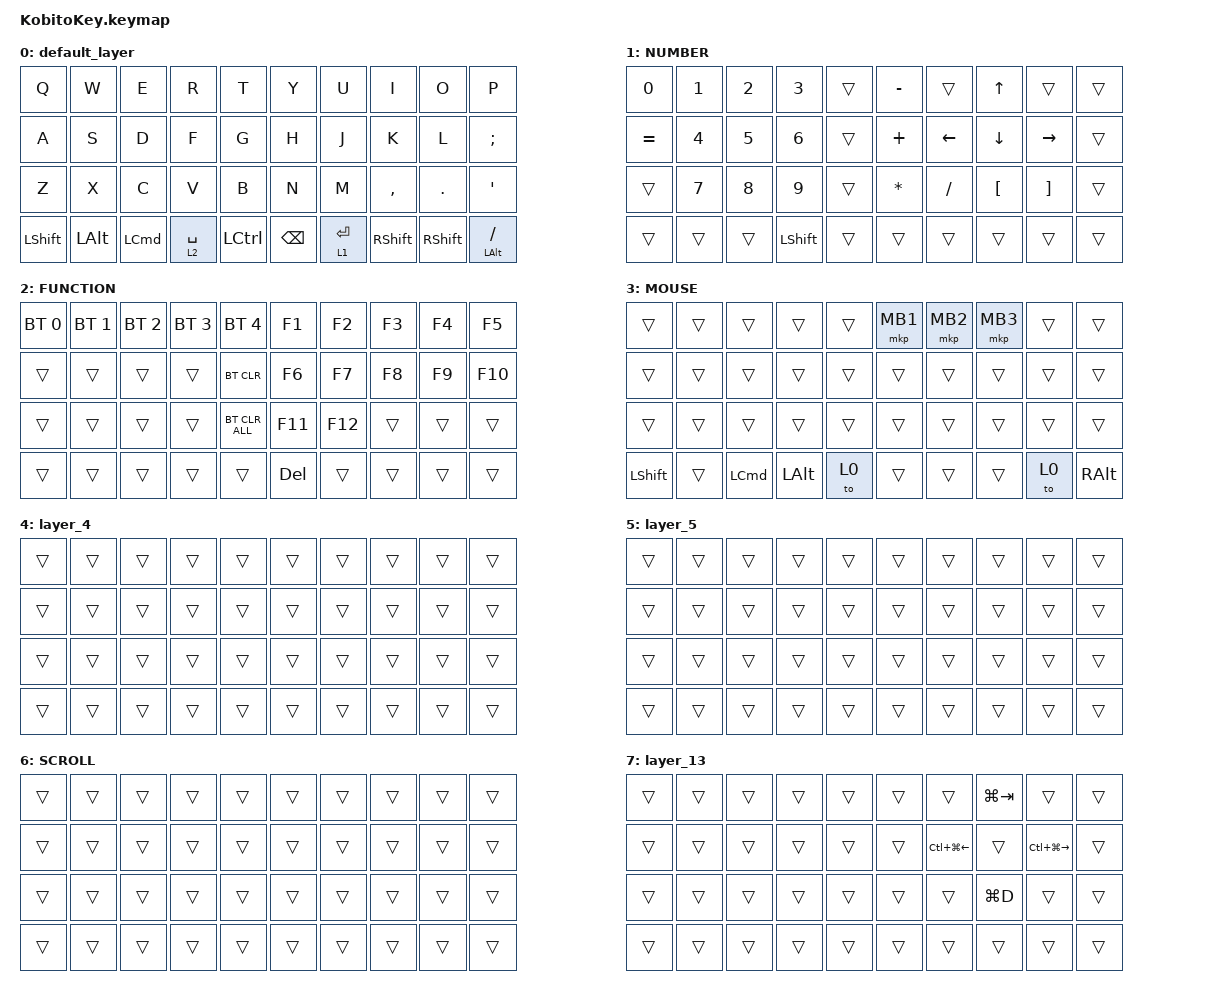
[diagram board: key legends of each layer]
#include <input/processors.dtsi>
#include <behaviors.dtsi>
#include <dt-bindings/zmk/bt.h>
#include <dt-bindings/zmk/keys.h>
#include <dt-bindings/zmk/pointing.h>
#include <zephyr/dt-bindings/input/input-event-codes.h>

/ {
    combos {
        compatible = "zmk,combos";

        combo_eisu {
            timeout-ms = <50>;
            key-positions = <12 13>;
            bindings = <&kp LANG2>;
        };

        combo_kana {
            timeout-ms = <50>;
            key-positions = <16 17>;
            bindings = <&kp LANG1>;
        };

        combo_esc {
            timeout-ms = <50>;
            key-positions = <0 1>;
            bindings = <&kp ESC>;
        };

        combo_tab {
            timeout-ms = <50>;
            key-positions = <10 11>;
            bindings = <&kp TAB>;
        };
        combo_scroll {
            timeout-ms = <50>;
            key-positions = <6 7>; // 6番=U, 7番=I
            bindings = <&mo 6>;    // 押している間だけ「レイヤー6（後述）」をオンにする
        };
        combo_gesture {
            timeout-ms = <50>;
            key-positions = <16 17>; // 6番=U, 7番=I
            bindings = <&mo 13>;    // 押している間だけ「レイヤー13（後述）」をオンにする
        };
    };

    keymap {
        compatible = "zmk,keymap";

        default_layer {
            bindings = <
&kp Q      &kp W     &kp E     &kp R        &kp T      &kp Y     &kp U        &kp I      &kp O      &kp P
&kp A      &kp S     &kp D     &kp F        &kp G      &kp H     &kp J        &kp K      &kp L      &kp SEMI
&kp Z      &kp X     &kp C     &kp V        &kp B      &kp N     &kp M        &kp COMMA  &kp DOT    &kp APOS
&kp LSHFT  &kp LALT  &kp LCMD  &lt 2 SPACE  &kp LCTRL  &kp BSPC  &lt 1 ENTER  &kp RSHFT  &kp RSHFT  &mt LALT SLASH
            >;
        };

        layer1 {
            label = "NUMBER";
            bindings = <
&kp N0     &kp N1  &kp N2  &kp N3     &trans  &kp MINUS  &trans     &kp UP    &trans     &trans
&kp EQUAL  &kp N4  &kp N5  &kp N6     &trans  &kp PLUS   &kp LEFT   &kp DOWN  &kp RIGHT  &trans
&trans     &kp N7  &kp N8  &kp N9     &trans  &kp ASTRK  &kp SLASH  &kp LBKT  &kp RBKT   &trans
&trans     &trans  &trans  &kp LSHFT  &trans  &trans     &trans     &trans    &trans     &trans
            >;
        };

        layer2 {
            label = "FUNCTION";
            bindings = <
&bt BT_SEL 0  &bt BT_SEL 1  &bt BT_SEL 2  &bt BT_SEL 3  &bt BT_SEL 4    &kp F1   &kp F2   &kp F3  &kp F4  &kp F5
&trans        &trans        &trans        &trans        &bt BT_CLR      &kp F6   &kp F7   &kp F8  &kp F9  &kp F10
&trans        &trans        &trans        &trans        &bt BT_CLR_ALL  &kp F11  &kp F12  &trans  &trans  &trans
&trans        &trans        &trans        &trans        &trans          &kp DEL  &trans   &trans  &trans  &trans
            >;
        };

        layer3 {
            label = "MOUSE";
            bindings = <
&trans     &trans  &trans    &trans    &trans  &mkp MB1  &mkp MB2  &mkp MB3  &trans  &trans
&trans     &trans  &trans    &trans    &trans  &trans    &trans    &trans    &trans  &trans
&trans     &trans  &trans    &trans    &trans  &trans    &trans    &trans    &trans  &trans
&kp LSHFT  &trans  &kp LCMD  &kp LALT  &to 0   &trans    &trans    &trans    &to 0   &kp RALT
            >;
        };

        layer_4 {
            bindings = <
&trans  &trans  &trans  &trans  &trans  &trans  &trans  &trans  &trans  &trans
&trans  &trans  &trans  &trans  &trans  &trans  &trans  &trans  &trans  &trans
&trans  &trans  &trans  &trans  &trans  &trans  &trans  &trans  &trans  &trans
&trans  &trans  &trans  &trans  &trans  &trans  &trans  &trans  &trans  &trans
            >;
        };

        layer_5 {
            bindings = <
&trans  &trans  &trans  &trans  &trans  &trans  &trans  &trans  &trans  &trans
&trans  &trans  &trans  &trans  &trans  &trans  &trans  &trans  &trans  &trans
&trans  &trans  &trans  &trans  &trans  &trans  &trans  &trans  &trans  &trans
&trans  &trans  &trans  &trans  &trans  &trans  &trans  &trans  &trans  &trans
            >;
        };

        layer_6 {
            label = "SCROLL";
            // 全てのキーを &trans (透過) にします。
            // UとIを押している間、他のキーはデフォルトと同じように打てる状態を維持するためです。
            bindings = <
&trans &trans &trans &trans &trans  &trans &trans &trans &trans &trans
&trans &trans &trans &trans &trans  &trans &trans &trans &trans &trans
&trans &trans &trans &trans &trans  &trans &trans &trans &trans &trans
&trans &trans &trans &trans &trans  &trans &trans &trans &trans &trans
            >;
        };
        layer_13 {
            bindings = <
            // KobitoKeyのキー配列に合わせて &trans を並べ、
            // positionsで指定した場所だけ、発動したいキーに書き換えます。
            // （例：左にMacの戻る、右に進む を割り当てる場合）
&trans &trans &trans &trans &trans  &trans &trans &kp LG(TAB) &trans &trans
&trans &trans &trans &trans &trans  &trans &kp LC(LG(LEFT)) &trans &kp LC(LG(RIGHT)) &trans
&trans &trans &trans &trans &trans  &trans &trans &kp LG(D) &trans &trans
&trans &trans &trans &trans &trans  &trans &trans &trans &trans &trans
            >;
        };
    };
};

